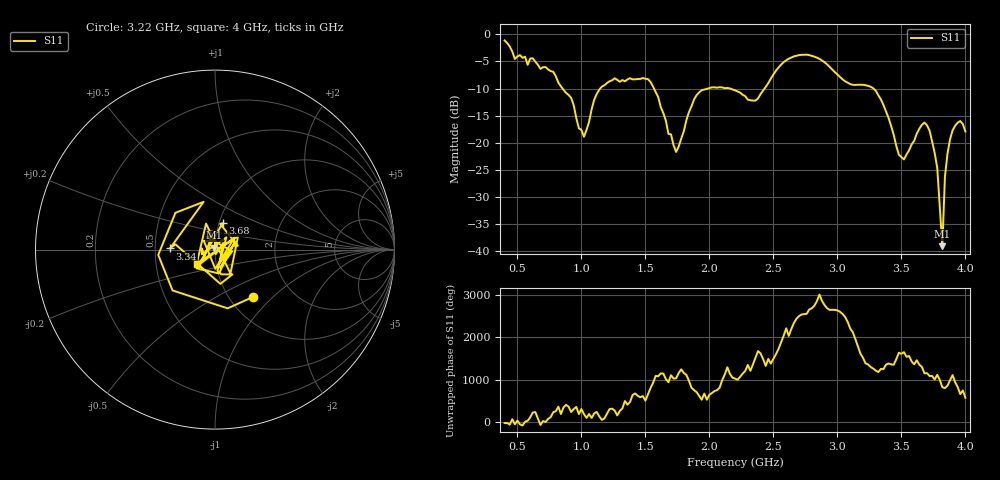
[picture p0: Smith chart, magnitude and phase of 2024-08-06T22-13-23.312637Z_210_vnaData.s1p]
!Created with skrf (http://scikit-rf.org).
# Hz S RI R 50.0
!freq ReS11 ImS11
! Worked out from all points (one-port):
!   181 points, 400 MHz to 4 GHz, reference 50 ohm
!   lowest |S11| = -39.1 dB at 3.82 GHz (marker M1), VSWR 1.02, Z = 49.7 + j1.06 ohm
!   |S11| at or under -10 dB: 852.4 MHz to 1.147 GHz (294.6 MHz wide, 29.5 % of centre); 1.567 GHz to 1.989 GHz (422.5 MHz wide, 23.8 % of centre); 3.282 GHz to end of sweep (the widest 3 of 4)
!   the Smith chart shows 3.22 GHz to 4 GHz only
!   S11 on the Smith chart (normalised r, x): 3.22 GHz: 1.29, -0.77; 3.34 GHz: 0.60, +0.01; 3.68 GHz: 1.04, +0.31; 4 GHz: 0.81, -0.13
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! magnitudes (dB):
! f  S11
! 400 MHz  -1.1
! 480 MHz  -4.5
! 620 MHz  -4.4
! 860 MHz  -10.2
! 1.02 GHz  -18.9
! 1.14 GHz  -10.2
! 1.3 GHz  -8.8
! 1.54 GHz  -8.8
! 1.74 GHz  -21.7
! 1.76 GHz  -20.7
! 1.92 GHz  -10.7
! 2.2 GHz  -10.3
! 2.36 GHz  -12.2
! 2.66 GHz  -4.1
! 2.86 GHz  -4.5
! 3.1 GHz  -9.2
! 3.22 GHz  -9.4
! 3.34 GHz  -12.0
! 3.48 GHz  -22.2
! 3.56 GHz  -21.4
! 3.68 GHz  -16.3
! 3.72 GHz  -17.8
! 3.78 GHz  -24.6
! 3.82 GHz  -39.1
! 3.84 GHz  -26.3
! 3.88 GHz  -19.4
! 3.96 GHz  -16.0
! 4 GHz  -17.9
